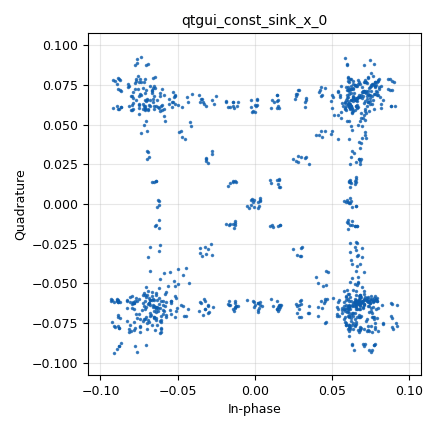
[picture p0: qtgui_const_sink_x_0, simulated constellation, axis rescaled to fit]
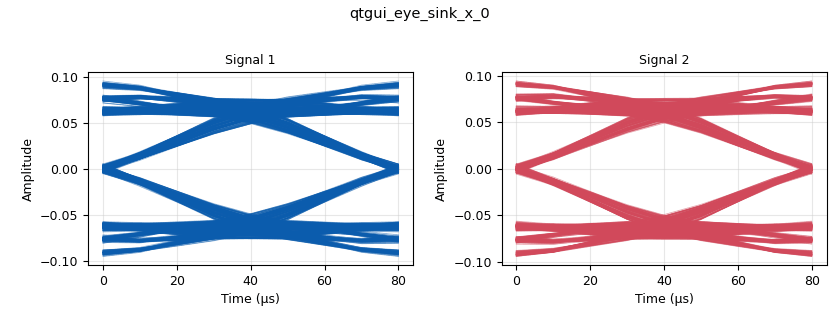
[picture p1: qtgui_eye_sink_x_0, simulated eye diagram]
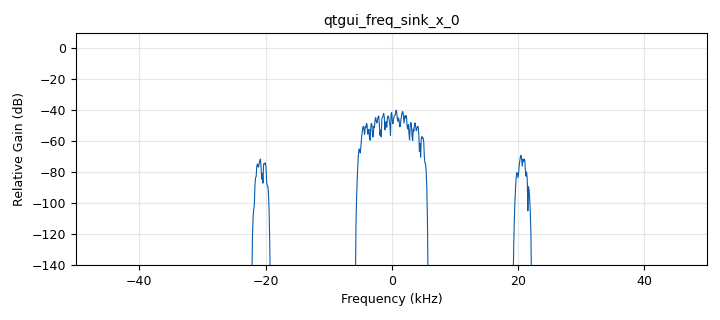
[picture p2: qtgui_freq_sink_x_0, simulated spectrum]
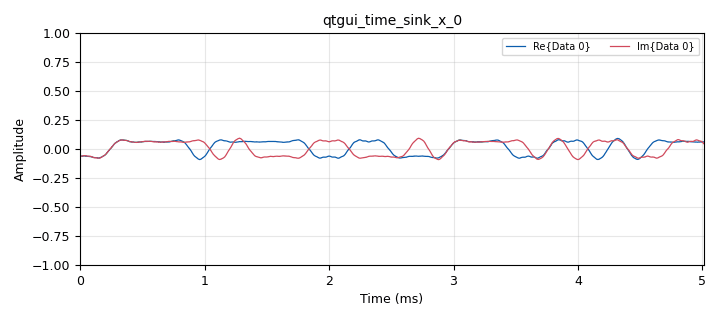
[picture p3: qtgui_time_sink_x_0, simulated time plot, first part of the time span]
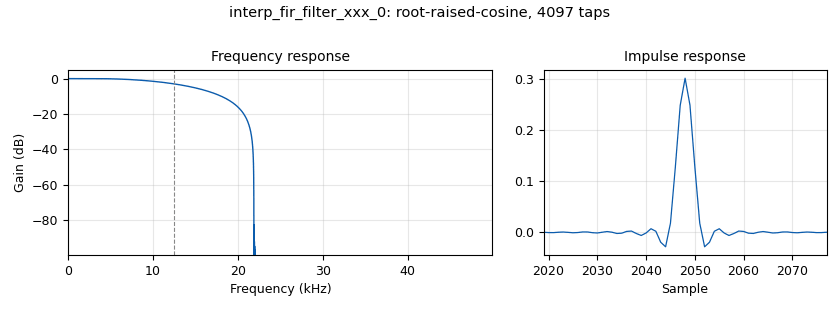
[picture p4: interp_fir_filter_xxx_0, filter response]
options:
  parameters:
    generate_options: qt_gui
    id: Que3
    output_language: python
    title: Not titled yet
  states: {}

blocks:
- name: RRC
  id: variable
  parameters:
    value: firdes.root_raised_cosine(1, samp_rate, symbol_rate, excess_bandwidth, 4096)
  states: {}
- name: bit_rate
  id: variable_qtgui_chooser
  parameters:
    label0: 100kpbs
    label1: 300kbps
    label2: 500kbps
    num_opts: '3'
    option0: '100000'
    option1: '300000'
    option2: '500000'
    orient: Qt.QHBoxLayout
    type: raw
    value: '100000'
    widget: radio_buttons
  states: {}
- name: excess_bandwidth
  id: variable_qtgui_chooser
  parameters:
    label0: 10%
    label1: 25%
    label2: 50%
    label3: 75%
    num_opts: '4'
    option0: '0.1'
    option1: '0.25'
    option2: '0.5'
    option3: '0.75'
    orient: Qt.QHBoxLayout
    type: raw
    value: '0.75'
    widget: radio_buttons
  states: {}
- name: interpolation_factor
  id: variable
  parameters:
    value: samp_rate//symbol_rate
  states: {}
- name: qam64
  id: variable
  parameters:
    value: |-
      [-7-7j, -7-5j, -7-3j, -7-1j, -7+1j, -7+3j, -7+5j, -7+7j,
       -5-7j, -5-5j, -5-3j, -5-1j, -5+1j, -5+3j, -5+5j, -5+7j,
       -3-7j, -3-5j, -3-3j, -3-1j, -3+1j, -3+3j, -3+5j, -3+7j,
       -1-7j, -1-5j, -1-3j, -1-1j, -1+1j, -1+3j, -1+5j, -1+7j,
        1-7j,  1-5j,  1-3j,  1-1j,  1+1j,  1+3j,  1+5j,  1+7j,
        3-7j,  3-5j,  3-3j,  3-1j,  3+1j,  3+3j,  3+5j,  3+7j,
        5-7j,  5-5j,  5-3j,  5-1j,  5+1j,  5+3j,  5+5j,  5+7j,
        7-7j,  7-5j,  7-3j,  7-1j,  7+1j,  7+3j,  7+5j,  7+7j]
  states: {}
- name: qpsk
  id: variable
  parameters:
    value: '[-1-1j, +1-1j, 1+1j,-1+1j]'
  states: {}
- name: samp_rate
  id: variable
  parameters:
    value: '100000'
  states: {}
- name: symbol_rate
  id: variable
  parameters:
    value: bit_rate//4
  states: {}
- name: analog_random_source_x_0
  id: analog_random_source_x
  parameters:
    max: '4'
    min: '0'
    num_samps: '8092'
    repeat: 'True'
    type: byte
  states: {}
- name: blocks_throttle2_0
  id: blocks_throttle2
  parameters:
    samples_per_second: samp_rate
    type: complex
  states: {}
- name: digital_chunks_to_symbols_xx_1
  id: digital_chunks_to_symbols_xx
  parameters:
    dimension: '1'
    in_type: byte
    out_type: complex
    symbol_table: qpsk
  states: {}
- name: import_0
  id: import
  parameters:
    imports: import math
  states: {}
- name: import_0_0
  id: import
  parameters:
    imports: import numpy
  states: {}
- name: interp_fir_filter_xxx_0
  id: interp_fir_filter_xxx
  parameters:
    interp: interpolation_factor
    taps: RRC
    type: ccc
  states: {}
- name: interp_fir_filter_xxx_0_0
  id: interp_fir_filter_xxx
  parameters:
    interp: interpolation_factor
    taps: RRC
    type: ccc
  states: {}
- name: qtgui_const_sink_x_0
  id: qtgui_const_sink_x
  parameters:
    size: '1024'
    type: complex
  states: {}
- name: qtgui_eye_sink_x_0
  id: qtgui_eye_sink_x
  parameters:
    autoscale: 'True'
    grid: 'True'
    samp_per_symbol: '4'
    size: '8192'
    srate: samp_rate
    type: complex
  states: {}
- name: qtgui_freq_sink_x_0
  id: qtgui_freq_sink_x
  parameters:
    bw: samp_rate
    fc: '0'
    fftsize: '1024'
    type: complex
  states: {}
- name: qtgui_time_sink_x_0
  id: qtgui_time_sink_x
  parameters:
    size: '4096'
    srate: samp_rate
    type: complex
  states: {}

connections:
- [analog_random_source_x_0, '0', digital_chunks_to_symbols_xx_1, '0']
- [blocks_throttle2_0, '0', qtgui_const_sink_x_0, '0']
- [blocks_throttle2_0, '0', qtgui_eye_sink_x_0, '0']
- [blocks_throttle2_0, '0', qtgui_freq_sink_x_0, '0']
- [blocks_throttle2_0, '0', qtgui_time_sink_x_0, '0']
- [digital_chunks_to_symbols_xx_1, '0', interp_fir_filter_xxx_0, '0']
- [interp_fir_filter_xxx_0, '0', interp_fir_filter_xxx_0_0, '0']
- [interp_fir_filter_xxx_0_0, '0', blocks_throttle2_0, '0']

metadata:
  file_format: 1
  grc_version: 3.10.10.0
